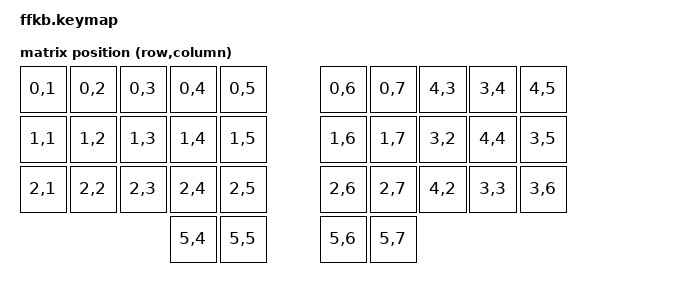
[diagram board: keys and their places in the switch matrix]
/* the ffkb has 12 columns, 3 encoders, and 3 thumbs. Delete the extra bits */

#include "standard-keymap.keymap"
#include <dt-bindings/zmk/matrix_transform.h>

/ {
    chosen {
        zmk,matrix_transform = &ffkb_transform;
    };

    ffkb_transform: ffkb_transform {
        compatible = "zmk,matrix-transform";
        columns = <8>;
        rows = <6>;

        map = <
             RC(0,1) RC(0,2) RC(0,3) RC(0,4) RC(0,5)         RC(0,6) RC(0,7) RC(4,3) RC(3,4) RC(4,5)
             RC(1,1) RC(1,2) RC(1,3) RC(1,4) RC(1,5)         RC(1,6) RC(1,7) RC(3,2) RC(4,4) RC(3,5)
             RC(2,1) RC(2,2) RC(2,3) RC(2,4) RC(2,5)         RC(2,6) RC(2,7) RC(4,2) RC(3,3) RC(3,6)
                                     RC(5,4) RC(5,5)         RC(5,6) RC(5,7)
        >;
    };
};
